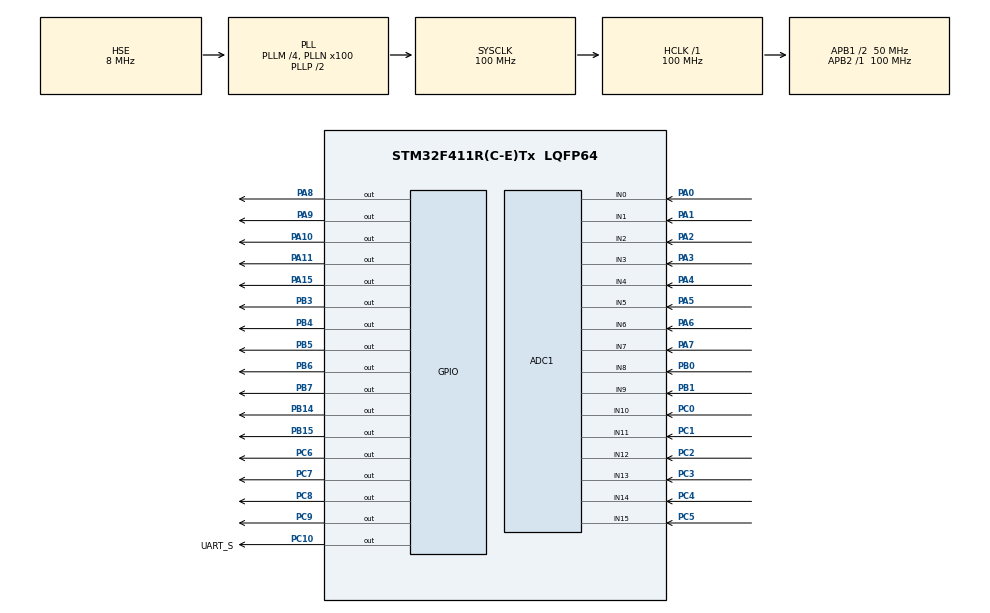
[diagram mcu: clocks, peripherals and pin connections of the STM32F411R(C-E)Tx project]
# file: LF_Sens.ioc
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ADC1.Channel-0\#ChannelRegularConversion=ADC_CHANNEL_0
ADC1.Channel-1\#ChannelRegularConversion=ADC_CHANNEL_1
ADC1.Channel-10\#ChannelRegularConversion=ADC_CHANNEL_10
ADC1.Channel-11\#ChannelRegularConversion=ADC_CHANNEL_11
ADC1.Channel-12\#ChannelRegularConversion=ADC_CHANNEL_12
ADC1.Channel-13\#ChannelRegularConversion=ADC_CHANNEL_13
ADC1.Channel-14\#ChannelRegularConversion=ADC_CHANNEL_14
ADC1.Channel-15\#ChannelRegularConversion=ADC_CHANNEL_15
ADC1.Channel-2\#ChannelRegularConversion=ADC_CHANNEL_2
ADC1.Channel-3\#ChannelRegularConversion=ADC_CHANNEL_3
ADC1.Channel-4\#ChannelRegularConversion=ADC_CHANNEL_4
ADC1.Channel-5\#ChannelRegularConversion=ADC_CHANNEL_5
ADC1.Channel-6\#ChannelRegularConversion=ADC_CHANNEL_6
ADC1.Channel-7\#ChannelRegularConversion=ADC_CHANNEL_7
ADC1.Channel-8\#ChannelRegularConversion=ADC_CHANNEL_8
ADC1.Channel-9\#ChannelRegularConversion=ADC_CHANNEL_9
ADC1.ContinuousConvMode=ENABLE
ADC1.DMAContinuousRequests=ENABLE
ADC1.NbrOfConversion=16
ADC1.NbrOfConversionFlag=1
ADC1.Rank-0\#ChannelRegularConversion=1
ADC1.Rank-1\#ChannelRegularConversion=2
ADC1.Rank-10\#ChannelRegularConversion=11
ADC1.Rank-11\#ChannelRegularConversion=12
ADC1.Rank-12\#ChannelRegularConversion=13
ADC1.Rank-13\#ChannelRegularConversion=14
ADC1.Rank-14\#ChannelRegularConversion=15
ADC1.Rank-15\#ChannelRegularConversion=16
ADC1.Rank-2\#ChannelRegularConversion=3
ADC1.Rank-3\#ChannelRegularConversion=4
ADC1.Rank-4\#ChannelRegularConversion=5
ADC1.Rank-5\#ChannelRegularConversion=6
ADC1.Rank-6\#ChannelRegularConversion=7
ADC1.Rank-7\#ChannelRegularConversion=8
ADC1.Rank-8\#ChannelRegularConversion=9
ADC1.Rank-9\#ChannelRegularConversion=10
ADC1.SamplingTime-0\#ChannelRegularConversion=ADC_SAMPLETIME_84CYCLES
ADC1.SamplingTime-1\#ChannelRegularConversion=ADC_SAMPLETIME_84CYCLES
ADC1.SamplingTime-10\#ChannelRegularConversion=ADC_SAMPLETIME_84CYCLES
ADC1.SamplingTime-11\#ChannelRegularConversion=ADC_SAMPLETIME_84CYCLES
ADC1.SamplingTime-12\#ChannelRegularConversion=ADC_SAMPLETIME_84CYCLES
ADC1.SamplingTime-13\#ChannelRegularConversion=ADC_SAMPLETIME_84CYCLES
ADC1.SamplingTime-14\#ChannelRegularConversion=ADC_SAMPLETIME_84CYCLES
ADC1.SamplingTime-15\#ChannelRegularConversion=ADC_SAMPLETIME_84CYCLES
ADC1.SamplingTime-2\#ChannelRegularConversion=ADC_SAMPLETIME_28CYCLES
ADC1.SamplingTime-3\#ChannelRegularConversion=ADC_SAMPLETIME_84CYCLES
ADC1.SamplingTime-4\#ChannelRegularConversion=ADC_SAMPLETIME_84CYCLES
ADC1.SamplingTime-5\#ChannelRegularConversion=ADC_SAMPLETIME_28CYCLES
ADC1.SamplingTime-6\#ChannelRegularConversion=ADC_SAMPLETIME_84CYCLES
ADC1.SamplingTime-7\#ChannelRegularConversion=ADC_SAMPLETIME_28CYCLES
ADC1.SamplingTime-8\#ChannelRegularConversion=ADC_SAMPLETIME_84CYCLES
ADC1.SamplingTime-9\#ChannelRegularConversion=ADC_SAMPLETIME_84CYCLES
ADC1.ScanConvMode=ENABLE
ADC1.master=1
Dma.ADC1.0.Direction=DMA_PERIPH_TO_MEMORY
Dma.ADC1.0.FIFOMode=DMA_FIFOMODE_DISABLE
Dma.ADC1.0.Instance=DMA2_Stream0
Dma.ADC1.0.MemDataAlignment=DMA_MDATAALIGN_HALFWORD
Dma.ADC1.0.MemInc=DMA_MINC_ENABLE
Dma.ADC1.0.Mode=DMA_CIRCULAR
Dma.ADC1.0.PeriphDataAlignment=DMA_PDATAALIGN_HALFWORD
Dma.ADC1.0.PeriphInc=DMA_PINC_DISABLE
Dma.ADC1.0.Priority=DMA_PRIORITY_LOW
Dma.Request0=ADC1
Mcu.Family=STM32F4
Mcu.Name=STM32F411R(C-E)Tx
Mcu.Package=LQFP64
NVIC.DMA2_Stream0_IRQn=true\:0\:0\:false\:false\:true\:false\:true\:true
NVIC.PriorityGroup=NVIC_PRIORITYGROUP_4
NVIC.TIM1_TRG_COM_TIM11_IRQn=true\:0\:0\:false\:false\:true\:true\:true\:true
PA0-WKUP.Signal=ADCx_IN0
PA1.Signal=ADCx_IN1
PA10.GPIO_Speed=GPIO_SPEED_FREQ_VERY_HIGH
PA10.Signal=GPIO_Output
PA11.GPIO_Speed=GPIO_SPEED_FREQ_VERY_HIGH
PA11.Signal=GPIO_Output
PA15.GPIO_Speed=GPIO_SPEED_FREQ_VERY_HIGH
PA15.Signal=GPIO_Output
PA2.Signal=ADCx_IN2
PA3.Signal=ADCx_IN3
PA4.Signal=ADCx_IN4
PA5.Signal=ADCx_IN5
PA6.Signal=ADCx_IN6
PA7.Signal=ADCx_IN7
PA8.GPIO_Speed=GPIO_SPEED_FREQ_VERY_HIGH
PA8.Signal=GPIO_Output
PA9.GPIO_Speed=GPIO_SPEED_FREQ_VERY_HIGH
PA9.Signal=GPIO_Output
PB0.Signal=ADCx_IN8
PB1.Signal=ADCx_IN9
PB14.GPIO_Speed=GPIO_SPEED_FREQ_VERY_HIGH
PB14.Signal=GPIO_Output
PB15.GPIO_Speed=GPIO_SPEED_FREQ_VERY_HIGH
PB15.Signal=GPIO_Output
PB3.GPIO_Speed=GPIO_SPEED_FREQ_VERY_HIGH
PB3.Signal=GPIO_Output
PB4.GPIO_Speed=GPIO_SPEED_FREQ_VERY_HIGH
PB4.Signal=GPIO_Output
PB5.GPIO_Speed=GPIO_SPEED_FREQ_VERY_HIGH
PB5.Signal=GPIO_Output
PB6.GPIO_Speed=GPIO_SPEED_FREQ_VERY_HIGH
PB6.Signal=GPIO_Output
PB7.GPIO_Speed=GPIO_SPEED_FREQ_VERY_HIGH
PB7.Signal=GPIO_Output
PC0.Signal=ADCx_IN10
PC1.Signal=ADCx_IN11
PC10.GPIO_Label=UART_S
PC10.GPIO_Speed=GPIO_SPEED_FREQ_VERY_HIGH
PC10.Signal=GPIO_Output
PC2.Signal=ADCx_IN12
PC3.Signal=ADCx_IN13
PC4.Signal=ADCx_IN14
PC5.Signal=ADCx_IN15
PC6.GPIO_Speed=GPIO_SPEED_FREQ_VERY_HIGH
PC6.Signal=GPIO_Output
PC7.GPIO_Speed=GPIO_SPEED_FREQ_VERY_HIGH
PC7.Signal=GPIO_Output
PC8.GPIO_Speed=GPIO_SPEED_FREQ_VERY_HIGH
PC8.Signal=GPIO_Output
PC9.GPIO_Speed=GPIO_SPEED_FREQ_VERY_HIGH
PC9.Signal=GPIO_Output
PH0\ -\ OSC_IN.Mode=HSE-External-Oscillator
PH0\ -\ OSC_IN.Signal=RCC_OSC_IN
PH1\ -\ OSC_OUT.Mode=HSE-External-Oscillator
PH1\ -\ OSC_OUT.Signal=RCC_OSC_OUT
ProjectManager.HeapSize=0x200
ProjectManager.StackSize=0x400
ProjectManager.TargetToolchain=STM32CubeIDE
RCC.48MHZClocksFreq_Value=50000000
RCC.AHBFreq_Value=100000000
RCC.APB1CLKDivider=RCC_HCLK_DIV2
RCC.APB1Freq_Value=50000000
RCC.APB1TimFreq_Value=100000000
RCC.APB2Freq_Value=100000000
RCC.APB2TimFreq_Value=100000000
RCC.CortexFreq_Value=100000000
RCC.HCLKFreq_Value=100000000
RCC.HSE_VALUE=8000000
RCC.HSI_VALUE=16000000
RCC.LSE_VALUE=32768
RCC.PLLM=4
RCC.PLLN=100
RCC.PLLSourceVirtual=RCC_PLLSOURCE_HSE
RCC.SYSCLKFreq_VALUE=100000000
RCC.SYSCLKSource=RCC_SYSCLKSOURCE_PLLCLK
RCC.VCOOutputFreq_Value=200000000
SH.ADCx_IN0.0=ADC1_IN0,IN0
SH.ADCx_IN1.0=ADC1_IN1,IN1
SH.ADCx_IN10.0=ADC1_IN10,IN10
SH.ADCx_IN11.0=ADC1_IN11,IN11
SH.ADCx_IN12.0=ADC1_IN12,IN12
SH.ADCx_IN13.0=ADC1_IN13,IN13
SH.ADCx_IN14.0=ADC1_IN14,IN14
SH.ADCx_IN15.0=ADC1_IN15,IN15
SH.ADCx_IN2.0=ADC1_IN2,IN2
SH.ADCx_IN3.0=ADC1_IN3,IN3
SH.ADCx_IN4.0=ADC1_IN4,IN4
SH.ADCx_IN5.0=ADC1_IN5,IN5
SH.ADCx_IN6.0=ADC1_IN6,IN6
SH.ADCx_IN7.0=ADC1_IN7,IN7
SH.ADCx_IN8.0=ADC1_IN8,IN8
SH.ADCx_IN9.0=ADC1_IN9,IN9
TIM10.Prescaler=100-1
TIM11.Period=200-1
TIM11.Prescaler=10-1
VP_TIM10_VS_ClockSourceINT.Mode=Enable_Timer
VP_TIM11_VS_ClockSourceINT.Mode=Enable_Timer
board=custom

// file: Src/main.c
/* USER CODE BEGIN Header */
/**
  ******************************************************************************
  * @file           : main.c
  * @brief          : Main program body
  ******************************************************************************
  * @attention
  *
  * Copyright (c) 2024 STMicroelectronics.
  * All rights reserved.
  *
  * This software is licensed under terms that can be found in the LICENSE file
  * in the root directory of this software component.
  * If no LICENSE file comes with this software, it is provided AS-IS.
  *
  ******************************************************************************
  */
/* USER CODE END Header */
#include "main.h"
#include "adc.h"
#include "dma.h"
#include "tim.h"
#include "gpio.h"

/* USER CODE BEGIN Includes */
#include "string.h"
#include "stdlib.h"
/* USER CODE END Includes */

/* USER CODE BEGIN PV */
uint32_t ADC_Buff[8];
uint16_t ADC_Read[16];

float AVG_Sens;

typedef enum{
	plastik_putih,
	plastik_biru,
	kertas_coklat,
	kertas_koran,
	daun_hijau,
	daun_kering,
	botol_plastik,
	fero,
	non_fero,
	no_detect

}Sampah;

Sampah deteksi_sampah;

uint8_t test_uart[6]={'R','I','V','A','L','\n'};

uint8_t data_uart_send[35] = {'i','t','s'};
uint16_t led_bright=3;

/* USER CODE END PV */

void SystemClock_Config(void);
/* USER CODE BEGIN PFP */
void uart_send(uint8_t data);
void uart_ex_init(void);
void delay_micro(uint32_t time);
uint8_t soft_pwm(uint16_t Duty);
/* USER CODE END PFP */

int main(void)
{

  /* MCU Configuration--------------------------------------------------------*/

  /* Reset of all peripherals, Initializes the Flash interface and the Systick. */
  HAL_Init();

  /* Configure the system clock */
  SystemClock_Config();

  /* Initialize all configured peripherals */
  MX_GPIO_Init();
  MX_DMA_Init();
  MX_ADC1_Init();
  MX_TIM11_Init();
  MX_TIM10_Init();
  /* USER CODE BEGIN 2 */
//  HAL_TIM_PWM_Start(&htim1, TIM_CHANNEL_1);
//  HAL_TIM_PWM_Start(&htim1, TIM_CHANNEL_2);
//  HAL_TIM_PWM_Start(&htim1, TIM_CHANNEL_3);
//  HAL_TIM_PWM_Start(&htim1, TIM_CHANNEL_4);
//  HAL_TIMEx_PWMN_Start(&htim1, TIM_CHANNEL_2);
//  HAL_TIMEx_PWMN_Start(&htim1, TIM_CHANNEL_3);
//  HAL_TIM_PWM_Start(&htim2, TIM_CHANNEL_ALL);
//  HAL_TIM_PWM_Start(&htim3, TIM_CHANNEL_ALL);
//  HAL_TIMEx_PWMN_Start(&htim4, TIM_CHANNEL_ALL);

  HAL_TIM_Base_Start_IT(&htim11);

//  TIM1->CCR1 = TIM1->CCR2 = TIM1->CCR3 = TIM1->CCR4 = 250;
//  TIM2->CCR1 = TIM2->CCR2 = 250;
//  TIM3->CCR4 = TIM3->CCR1 = TIM3->CCR2 = TIM3->CCR3 = 250;
//  TIM4->CCR1 = TIM4->CCR2 = 250;

  HAL_ADC_Start_DMA(&hadc1, ADC_Buff, 16);

  uart_ex_init();

  /* USER CODE END 2 */

  /* Infinite loop */
  while (1)
  {

    /* USER CODE BEGIN 3 */

	  ADC_Read[0] = ADC_Buff[0] & 0xFFFF;
	  ADC_Read[1] = ADC_Buff[0] >> 16;
	  ADC_Read[2] = ADC_Buff[1] & 0xFFFF;
	  ADC_Read[3] = ADC_Buff[1] >> 16;
	  ADC_Read[4] = ADC_Buff[2] & 0xFFFF;
	  ADC_Read[5] = ADC_Buff[2] >> 16;
	  ADC_Read[6] = ADC_Buff[3] & 0xFFFF;
	  ADC_Read[7] = ADC_Buff[3] >> 16;
	  ADC_Read[8] = ADC_Buff[4] & 0xFFFF;
	  ADC_Read[9] = ADC_Buff[4] >> 16;
	  ADC_Read[10] = ADC_Buff[5] & 0xFFFF;
	  ADC_Read[11] = ADC_Buff[5] >> 16;
	  ADC_Read[12] = ADC_Buff[6] & 0xFFFF;
	  ADC_Read[13] = ADC_Buff[6] >> 16;
	  ADC_Read[14] = ADC_Buff[7] & 0xFFFF;
	  ADC_Read[15] = ADC_Buff[7] >> 16;

	  memcpy(data_uart_send+3,ADC_Read,sizeof(ADC_Read));
	  for(int i=0;i<35;i++)
	  {
		  uart_send(data_uart_send[i]);
	  }
	  HAL_Delay(10);

	  AVG_Sens = ADC_Read[0] + ADC_Read[1] + ADC_Read[2] + ADC_Read[3] + ADC_Read[6] + ADC_Read[7] + ADC_Read[8] + ADC_Read[9] + ADC_Read[10] + ADC_Read[11] + ADC_Read[12] + ADC_Read[13] + ADC_Read[14] + ADC_Read[15];
	  AVG_Sens *= 0.2;

	  if(AVG_Sens > 2700)
		  deteksi_sampah = plastik_putih;
	  else if(AVG_Sens > 1100 && AVG_Sens < 1450)
		  deteksi_sampah = plastik_biru;
	  else if(AVG_Sens > 1700 && AVG_Sens < 1900)
		  deteksi_sampah = daun_kering;
	  else if(AVG_Sens > 2000 && AVG_Sens < 2400)
		  deteksi_sampah = kertas_coklat;
	  else if(AVG_Sens > 500 && AVG_Sens < 800)
		  deteksi_sampah = daun_hijau;
	  else
		  deteksi_sampah = no_detect;

  }
  /* USER CODE END 3 */
}

void SystemClock_Config(void)
{
  RCC_OscInitTypeDef RCC_OscInitStruct = {0};
  RCC_ClkInitTypeDef RCC_ClkInitStruct = {0};

  /** Configure the main internal regulator output voltage
  */
  __HAL_RCC_PWR_CLK_ENABLE();
  __HAL_PWR_VOLTAGESCALING_CONFIG(PWR_REGULATOR_VOLTAGE_SCALE1);

  /** Initializes the RCC Oscillators according to the specified parameters
  * in the RCC_OscInitTypeDef structure.
  */
  RCC_OscInitStruct.OscillatorType = RCC_OSCILLATORTYPE_HSE;
  RCC_OscInitStruct.HSEState = RCC_HSE_ON;
  RCC_OscInitStruct.PLL.PLLState = RCC_PLL_ON;
  RCC_OscInitStruct.PLL.PLLSource = RCC_PLLSOURCE_HSE;
  RCC_OscInitStruct.PLL.PLLM = 4;
  RCC_OscInitStruct.PLL.PLLN = 100;
  RCC_OscInitStruct.PLL.PLLP = RCC_PLLP_DIV2;
  RCC_OscInitStruct.PLL.PLLQ = 4;
  if (HAL_RCC_OscConfig(&RCC_OscInitStruct) != HAL_OK)
  {
    Error_Handler();
  }

  /** Initializes the CPU, AHB and APB buses clocks
  */
  RCC_ClkInitStruct.ClockType = RCC_CLOCKTYPE_HCLK|RCC_CLOCKTYPE_SYSCLK
                              |RCC_CLOCKTYPE_PCLK1|RCC_CLOCKTYPE_PCLK2;
  RCC_ClkInitStruct.SYSCLKSource = RCC_SYSCLKSOURCE_PLLCLK;
  RCC_ClkInitStruct.AHBCLKDivider = RCC_SYSCLK_DIV1;
  RCC_ClkInitStruct.APB1CLKDivider = RCC_HCLK_DIV2;
  RCC_ClkInitStruct.APB2CLKDivider = RCC_HCLK_DIV1;

  if (HAL_RCC_ClockConfig(&RCC_ClkInitStruct, FLASH_LATENCY_3) != HAL_OK)
  {
    Error_Handler();
  }
}

/* USER CODE BEGIN 4 */
void HAL_TIM_PeriodElapsedCallback(TIM_HandleTypeDef *htim)
{

if(htim->Instance == TIM11)
{
//	HAL_GPIO_TogglePin(TIM_EX1_GPIO_Port,TIM_EX1_Pin);
//	HAL_GPIO_TogglePin(TIM_EX2_GPIO_Port,TIM_EX2_Pin);

	 uint8_t out_pwm;
	 out_pwm = soft_pwm(led_bright);

	  HAL_GPIO_WritePin(GPIOB, GPIO_PIN_7,out_pwm);
	  HAL_GPIO_WritePin(GPIOB, GPIO_PIN_6,out_pwm);
	  HAL_GPIO_WritePin(GPIOB, GPIO_PIN_5,out_pwm);
	  HAL_GPIO_WritePin(GPIOB, GPIO_PIN_4,out_pwm);
	  HAL_GPIO_WritePin(GPIOB, GPIO_PIN_3,out_pwm);
	  HAL_GPIO_WritePin(GPIOA, GPIO_PIN_15,out_pwm);
	  HAL_GPIO_WritePin(GPIOA, GPIO_PIN_11,out_pwm);
	  HAL_GPIO_WritePin(GPIOA, GPIO_PIN_10,out_pwm);
	  HAL_GPIO_WritePin(GPIOA, GPIO_PIN_9,out_pwm);
	  HAL_GPIO_WritePin(GPIOA, GPIO_PIN_8,out_pwm);
	  HAL_GPIO_WritePin(GPIOC, GPIO_PIN_9,out_pwm);
	  HAL_GPIO_WritePin(GPIOC, GPIO_PIN_8,out_pwm);
	  HAL_GPIO_WritePin(GPIOC, GPIO_PIN_7,out_pwm);
	  HAL_GPIO_WritePin(GPIOC, GPIO_PIN_6,out_pwm);
	  HAL_GPIO_WritePin(GPIOB, GPIO_PIN_15,out_pwm);
	  HAL_GPIO_WritePin(GPIOB, GPIO_PIN_14,out_pwm);

//	  HAL_GPIO_TogglePin(GPIOB, GPIO_PIN_7);
//	  HAL_GPIO_TogglePin(GPIOB, GPIO_PIN_6);
//	  HAL_GPIO_TogglePin(GPIOB, GPIO_PIN_5);
//	  HAL_GPIO_TogglePin(GPIOB, GPIO_PIN_4);
//	  HAL_GPIO_TogglePin(GPIOB, GPIO_PIN_3);
//	  HAL_GPIO_TogglePin(GPIOA, GPIO_PIN_15);
//	  HAL_GPIO_TogglePin(GPIOA, GPIO_PIN_11);
//	  HAL_GPIO_TogglePin(GPIOA, GPIO_PIN_10);
//	  HAL_GPIO_TogglePin(GPIOA, GPIO_PIN_9);
//	  HAL_GPIO_TogglePin(GPIOA, GPIO_PIN_8);
//	  HAL_GPIO_TogglePin(GPIOC, GPIO_PIN_9);
//	  HAL_GPIO_TogglePin(GPIOC, GPIO_PIN_8);
//	  HAL_GPIO_TogglePin(GPIOC, GPIO_PIN_7);
//	  HAL_GPIO_TogglePin(GPIOC, GPIO_PIN_6);
//	  HAL_GPIO_TogglePin(GPIOB, GPIO_PIN_15);
//	  HAL_GPIO_TogglePin(GPIOB, GPIO_PIN_14);
}

}

void delay_micro(uint32_t time)
{
	TIM10->CNT = 0;
	while(TIM10->CNT < time);
}

void uart_ex_init(void)
{
	HAL_GPIO_WritePin(UART_S_GPIO_Port, UART_S_Pin, GPIO_PIN_SET);
	HAL_TIM_Base_Start(&htim10);

}

void uart_send(uint8_t data)
{

	//Send Start BIT+
	HAL_GPIO_WritePin(UART_S_GPIO_Port, UART_S_Pin, GPIO_PIN_RESET);
	delay_micro(52);

	//Send Data
	for(int i= 0; i<8; i++)
	{
		HAL_GPIO_WritePin(UART_S_GPIO_Port, UART_S_Pin, (data >> i) & 0x01);
		delay_micro(52);
	}

	//Send Stop BIT
	HAL_GPIO_WritePin(UART_S_GPIO_Port, UART_S_Pin, GPIO_PIN_SET);
	delay_micro(52);

}

uint8_t soft_pwm(uint16_t Duty)
{
	uint8_t out;
	static uint16_t cnt_ccr;

	if(cnt_ccr < Duty)
		out = 1;
	else
		out = 0;

	if(++cnt_ccr > 10)
		cnt_ccr = 0;

	return out;

}

/* USER CODE END 4 */

void Error_Handler(void)
{
  __disable_irq();
  while (1)
  {
  }
}
